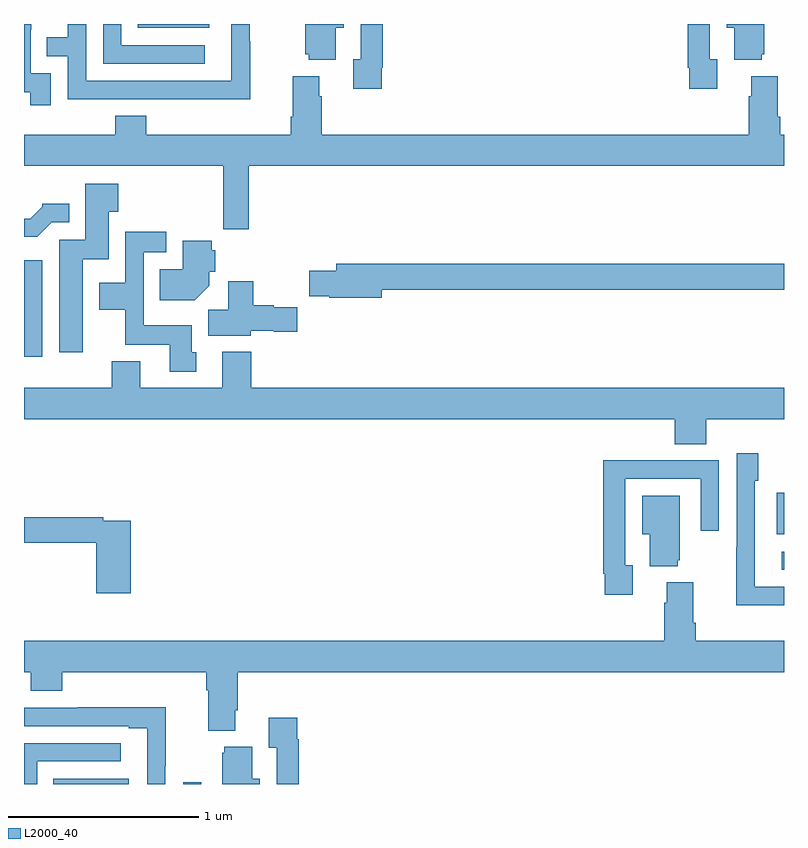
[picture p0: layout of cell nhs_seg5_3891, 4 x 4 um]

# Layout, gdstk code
import gdstk
lib = gdstk.Library(unit=1e-6, precision=1e-09)
def R(c, l, rs):  # rectangles x0, y0, x1, y1
    for r in rs: c.add(gdstk.rectangle(r[:2], r[2:], *l))
def P(c, l, *ps):  # polygons
    for p in ps: c.add(gdstk.Polygon(p, *l))
L2000_40 = (2000, 40)

nhs_seg5_3891 = lib.new_cell('nhs_seg5_3891')
R(nhs_seg5_3891, L2000_40, [(339.154,894.799,339.55,894.826), (339.837,894.799,339.933,894.808), (342.987,895.926,343,896.022), (342.962,896.114,343,896.333), (339,897.048,339.097,897.556), (339.598,898.778,339.976,898.799), (340.281,898.797,340.377,898.799)])
P(nhs_seg5_3891, L2000_40, [(340.642,898.778),(340.684,898.778),(340.684,898.799),(340.481,898.799),(340.481,898.641),(340.499,898.641),(340.499,898.61),(340.642,898.61)],
  [(342.884,898.641),(342.895,898.641),(342.895,898.799),(342.698,898.799),(342.698,898.778),(342.737,898.778),(342.737,898.61),(342.884,898.61)],
  [(339.952,898.686),(339.513,898.686),(339.513,898.799),(339.417,898.799),(339.417,898.59),(339.952,898.59)],
  [(340.882,898.57),(340.889,898.57),(340.889,898.799),(340.773,898.799),(340.773,898.614),(340.733,898.614),(340.733,898.458),(340.882,898.458)],
  [(340.191,898.709),(340.188,898.709),(340.188,898.799),(340.092,898.799),(340.092,898.5),(339.327,898.5),(339.327,898.799),(339.231,898.799),(339.231,898.73),(339.121,898.73),(339.121,898.629),(339.231,898.629),(339.231,898.404),(339.727,898.404),(339.727,898.403),(340.191,898.403)],
  [(339.141,898.539),(339.036,898.539),(339.036,898.769),(339.038,898.769),(339.038,898.799),(339,898.799),(339,898.441),(339.033,898.441),(339.033,898.371),(339.141,898.371)],
  [(342.649,898.614),(342.609,898.614),(342.609,898.799),(342.493,898.799),(342.493,898.57),(342.501,898.57),(342.501,898.458),(342.649,898.458)],
  [(340.184,898.052),(343,898.052),(343,898.216),(342.98,898.216),(342.98,898.312),(342.967,898.312),(342.967,898.525),(342.827,898.525),(342.827,898.418),(342.815,898.418),(342.815,898.216),(340.568,898.216),(340.568,898.418),(340.555,898.418),(340.555,898.525),(340.415,898.525),(340.415,898.312),(340.403,898.312),(340.403,898.216),(339.644,898.216),(339.644,898.315),(339.479,898.315),(339.479,898.216),(339,898.216),(339,898.052),(340.048,898.052),(340.048,897.72),(340.184,897.72)],
  [(339.31,897.56),(339.445,897.56),(339.445,897.811),(339.497,897.811),(339.497,897.958),(339.323,897.958),(339.323,897.663),(339.185,897.663),(339.185,897.072),(339.31,897.072)],
  [(339.147,897.756),(339.238,897.756),(339.238,897.853),(339.096,897.853),(339.096,897.838),(339.032,897.774),(339,897.774),(339,897.68),(339.071,897.68)],
  [(339.907,897.072),(339.883,897.072),(339.883,897.214),(339.63,897.214),(339.63,897.597),(339.748,897.597),(339.748,897.706),(339.534,897.706),(339.534,897.436),(339.395,897.436),(339.395,897.296),(339.532,897.296),(339.532,897.11),(339.767,897.11),(339.767,896.97),(339.907,896.97)],
  [(339.976,897.422),(339.976,897.495),(340.007,897.495),(340.007,897.609),(339.989,897.609),(339.989,897.658),(339.836,897.658),(339.836,897.508),(339.715,897.508),(339.715,897.344),(339.898,897.344)],
  [(340.882,897.4),(343,897.4),(343,897.536),(340.643,897.536),(340.643,897.5),(340.501,897.5),(340.501,897.366),(340.606,897.366),(340.606,897.358),(340.882,897.358)],
  [(340.194,897.185),(340.314,897.185),(340.314,897.178),(340.439,897.178),(340.439,897.308),(340.314,897.308),(340.314,897.32),(340.206,897.32),(340.206,897.445),(340.076,897.445),(340.076,897.296),(339.971,897.296),(339.971,897.158),(340.194,897.158)],
  [(342.59,896.72),(343,896.72),(343,896.884),(340.196,896.884),(340.196,897.073),(340.043,897.073),(340.043,896.884),(339.613,896.884),(339.613,897.025),(339.461,897.025),(339.461,896.884),(339,896.884),(339,896.72),(342.425,896.72),(342.425,896.587),(342.59,896.587)],
  [(343,895.836),(342.846,895.836),(342.846,896.394),(342.865,896.394),(342.865,896.539),(342.75,896.539),(342.75,896.045),(342.748,896.045),(342.748,895.739),(343,895.739)],
  [(342.205,895.95),(342.165,895.95),(342.165,896.406),(342.561,896.406),(342.561,896.133),(342.657,896.133),(342.657,896.502),(342.341,896.502),(342.341,896.504),(342.049,896.504),(342.049,895.906),(342.057,895.906),(342.057,895.794),(342.205,895.794)],
  [(342.44,895.977),(342.451,895.977),(342.451,896.317),(342.254,896.317),(342.254,896.114),(342.293,896.114),(342.293,895.946),(342.44,895.946)],
  [(339.563,896.184),(339.416,896.184),(339.416,896.204),(339,896.204),(339,896.068),(339.38,896.068),(339.38,895.803),(339.563,895.803)],
  [(340.111,895.186),(340.124,895.186),(340.124,895.388),(343,895.388),(343,895.552),(342.536,895.552),(342.536,895.648),(342.523,895.648),(342.523,895.861),(342.383,895.861),(342.383,895.754),(342.371,895.754),(342.371,895.552),(339,895.552),(339,895.388),(339.035,895.388),(339.035,895.289),(339.2,895.289),(339.2,895.388),(339.959,895.388),(339.959,895.292),(339.971,895.292),(339.971,895.079),(340.111,895.079)],
  [(339.744,894.895),(339.747,894.895),(339.747,895.202),(339.283,895.202),(339.283,895.2),(339,895.2),(339,895.104),(339.551,895.104),(339.551,895.092),(339.648,895.092),(339.648,894.799),(339.744,894.799)],
  [(340.445,895.034),(340.438,895.034),(340.438,895.147),(340.289,895.147),(340.289,894.991),(340.329,894.991),(340.329,894.799),(340.445,894.799)],
  [(339.069,894.918),(339.508,894.918),(339.508,895.014),(339,895.014),(339,894.799),(339.069,894.799)],
  [(340.24,894.826),(340.201,894.826),(340.201,894.994),(340.055,894.994),(340.055,894.963),(340.043,894.963),(340.043,894.799),(340.24,894.799)])

lib.write_gds('nhs_seg5_3891.gds')
